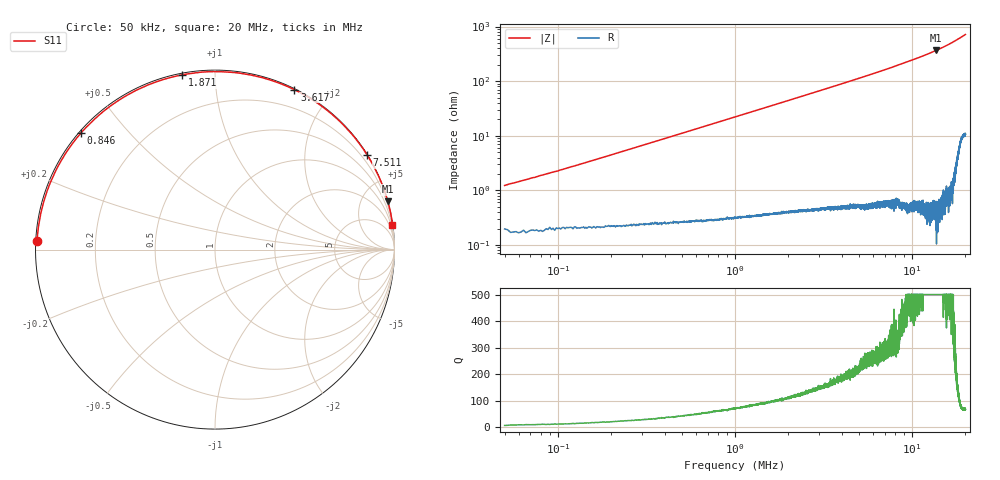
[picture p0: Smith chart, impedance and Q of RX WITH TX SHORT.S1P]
!Keysight Technologies,E5063A,MY54100949,A.07.30
!Date: Thu Dec 18 19:27:28 2025
!Data & Calibration Information:
!Freq	S22:SOLT1(ON)
# Hz S RI R 50
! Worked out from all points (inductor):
!   10001 points, 50 kHz to 20 MHz, reference 50 ohm
!   read as one part to ground: L = 3.55 uH near 149.8 kHz
!   highest Q = 1.05e+03 at 13.64 MHz (marker M1), where L = 4.25 uH
!   S11 on the Smith chart (normalised r, x): 50 kHz: 0.00, +0.02; 846 kHz: 0.01, +0.37; 1.871 MHz: 0.01, +0.83; 3.617 MHz: 0.01, +1.61; 7.511 MHz: 0.01, +3.49; 20 MHz: 0, +14
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50000  -0.991 0.0481
131795  -0.9849 0.1175
273440  -0.962 0.2381
421070  -0.9238 0.3576
642515  -0.8414 0.5212
846005  -0.7463 0.6498
1085405  -0.619 0.7722
1332785  -0.4794 0.8655
1592135  -0.3337 0.9325
1871435  -0.1847 0.9735
2184650  -0.0322 0.9911
2543750  0.1191 0.9852
2801105  0.2133 0.97
3058460  0.2957 0.9484
3617060  0.4422 0.891
4287380  0.5712 0.8158
5037500  0.6729 0.735
5566175  0.7262 0.6833
6130760  0.7713 0.6325
7511300  0.8468 0.5286
7531250  0.8475 0.5274
8672390  0.887 0.4593
1.0025e7  0.9184 0.3937
1.251875e7  0.9529 0.3019
1.363794e7  0.9627 0.2693
1.50125e7  0.9717 0.2342
1.750625e7  0.9828 0.1807
2e7  0.9883 0.1387
